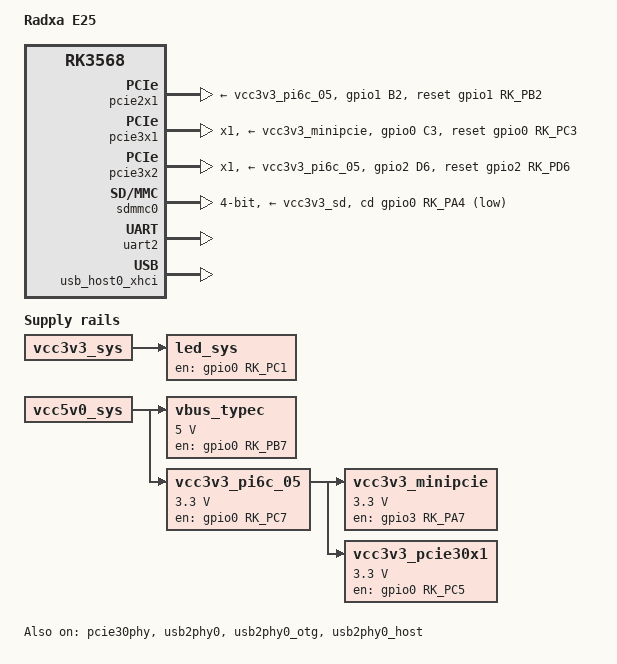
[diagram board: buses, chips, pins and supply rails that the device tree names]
// SPDX-License-Identifier: (GPL-2.0+ OR MIT)
/*
 * Copyright (c) 2020 Rockchip Electronics Co., Ltd.
 * Copyright (c) 2021 Radxa Limited.
 *
 */

/dts-v1/;
#include "rk3568-radxa-cm3i.dtsi"

/ {
	model = "Radxa E25";
	compatible = "radxa,e25", "radxa,cm3i", "rockchip,rk3568";

	aliases {
		mmc1 = &sdmmc0;
	};

	chosen: chosen {
		stdout-path = "serial2:115200n8";
	};

	led_sys: led-sys {
		compatible = "regulator-fixed";
		regulator-name = "led_sys";
		enable-active-high;
		gpio = <&gpio0 RK_PC1 GPIO_ACTIVE_HIGH>;
		regulator-boot-on;
		regulator-always-on;
		vin-supply = <&vcc3v3_sys>;
	};

	vbus_typec: vbus-typec-regulator {
		compatible = "regulator-fixed";
		enable-active-high;
		gpio = <&gpio0 RK_PB7 GPIO_ACTIVE_HIGH>;
		pinctrl-names = "default";
		pinctrl-0 = <&vbus_typec_en>;
		regulator-name = "vbus_typec";
		regulator-min-microvolt = <5000000>;
		regulator-max-microvolt = <5000000>;
		vin-supply = <&vcc5v0_sys>;
	};

	vcc3v3_minipcie: vcc3v3-minipcie-regulator {
		compatible = "regulator-fixed";
		enable-active-high;
		gpio = <&gpio3 RK_PA7 GPIO_ACTIVE_HIGH>;
		pinctrl-names = "default";
		pinctrl-0 = <&minipcie_enable_h>;
		regulator-name = "vcc3v3_minipcie";
		regulator-min-microvolt = <3300000>;
		regulator-max-microvolt = <3300000>;
		vin-supply = <&vcc3v3_pi6c_05>;
	};

#if 0
	vcc3v3_ngff: vcc3v3-ngff-regulator {
		compatible = "regulator-fixed";
		enable-active-high;
		gpio = <&gpio0 RK_PD6 GPIO_ACTIVE_HIGH>;
		pinctrl-names = "default";
		pinctrl-0 = <&ngffpcie_enable_h>;
		regulator-name = "vcc3v3_ngff";
		regulator-min-microvolt = <3300000>;
		regulator-max-microvolt = <3300000>;
		vin-supply = <&vcc5v0_sys>;
	};
#endif

	/* actually fed by vcc5v0_sys, dependent
	 * on pi6c clock generator
	 */
	vcc3v3_pcie30x1: vcc3v3-pcie30x1-regulator {
		compatible = "regulator-fixed";
		enable-active-high;
		gpio = <&gpio0 RK_PC5 GPIO_ACTIVE_HIGH>;
		pinctrl-names = "default";
		pinctrl-0 = <&pcie30x1_enable_h>;
		regulator-name = "vcc3v3_pcie30x1";
		regulator-min-microvolt = <3300000>;
		regulator-max-microvolt = <3300000>;
		vin-supply = <&vcc3v3_pi6c_05>;
	};

	vcc3v3_pi6c_05: vcc3v3-pi6c-05-regulator {
		compatible = "regulator-fixed";
		enable-active-high;
		gpios = <&gpio0 RK_PC7 GPIO_ACTIVE_HIGH>;
		pinctrl-names = "default";
		pinctrl-0 = <&pcie_enable_h>;
		regulator-name = "vcc3v3_pi6c_05";
		regulator-always-on;
		regulator-boot-on;
		regulator-min-microvolt = <3300000>;
		regulator-max-microvolt = <3300000>;
		vin-supply = <&vcc5v0_sys>;
	};
};

&pcie2x1 {
	pinctrl-names = "default";
	pinctrl-0 = <&pcie20_perstn_m2>;
	reset-gpios = <&gpio1 RK_PB2 GPIO_ACTIVE_HIGH>;
	vpcie3v3-supply = <&vcc3v3_pi6c_05>;
	status = "okay";
};

&pcie30phy {
	data-lanes = <1 2>;
	status = "okay";
};

&pcie3x1 {
	num-lanes = <1>;
	pinctrl-names = "default";
	pinctrl-0 = <&pcie30x1_perstn_m0>;
	reset-gpios = <&gpio0 RK_PC3 GPIO_ACTIVE_HIGH>;
	vpcie3v3-supply = <&vcc3v3_minipcie>;
	status = "okay";
};

&pcie3x2 {
	num-lanes = <1>;
	pinctrl-names = "default";
	pinctrl-0 = <&pcie30x2_perstn_m1>;
	reset-gpios = <&gpio2 RK_PD6 GPIO_ACTIVE_HIGH>;
	vpcie3v3-supply = <&vcc3v3_pi6c_05>;
	status = "okay";
};

&pinctrl {
	pcie {
		pcie20_perstn_m2: pcie20-perstn-m2 {
			rockchip,pins = <1 RK_PB2 RK_FUNC_GPIO &pcfg_pull_none>;
		};

		pcie30x1_enable_h: pcie30x1-enable-h {
			rockchip,pins = <0 RK_PC5 RK_FUNC_GPIO &pcfg_pull_none>;
		};

		pcie30x1_perstn_m0: pcie30x1-perstn-m0 {
			rockchip,pins = <0 RK_PC3 RK_FUNC_GPIO &pcfg_pull_none>;
		};

		pcie30x2_perstn_m1: pcie30x2-perstn-m1 {
			rockchip,pins = <2 RK_PD6 RK_FUNC_GPIO &pcfg_pull_none>;
		};

		pcie_enable_h: pcie-enable-h {
			rockchip,pins = <0 RK_PC7 RK_FUNC_GPIO &pcfg_pull_none>;
		};
	};

	usb {
		minipcie_enable_h: minipcie-enable-h {
			rockchip,pins = <3 RK_PA7 RK_FUNC_GPIO &pcfg_pull_none>;
                };

#if 0
		ngffpcie_enable_h: ngffpcie-enable-h {
			rockchip,pins = <0 RK_PD6 RK_FUNC_GPIO &pcfg_pull_none>;
		};
#endif

		vbus_typec_en: vbus_typec_en {
			rockchip,pins = <0 RK_PB7 RK_FUNC_GPIO &pcfg_pull_none>;
		};
	};
};

&sdmmc0 {
	bus-width = <4>;
	cap-mmc-highspeed;
	cap-sd-highspeed;
	cd-gpios = <&gpio0 RK_PA4 GPIO_ACTIVE_LOW>;
	/* Also used in pcie30x1_clkreqnm0 */
	disable-wp;
	pinctrl-names = "default";
	pinctrl-0 = <&sdmmc0_bus4 &sdmmc0_clk &sdmmc0_cmd>;
	sd-uhs-sdr104;
	vmmc-supply = <&vcc3v3_sd>;
	vqmmc-supply = <&vccio_sd>;
	status = "okay";
};

&uart2 {
	status = "okay";
};

&usb2phy0 {
	status = "okay";
};

&usb2phy0_otg {
	phy-supply = <&vbus_typec>;
	status = "okay";
};

&usb2phy0_host {
	phy-supply = <&vbus_typec>;
	status = "okay";
};

&usb_host0_xhci {
	extcon = <&usb2phy0>;
	status = "okay";
};
